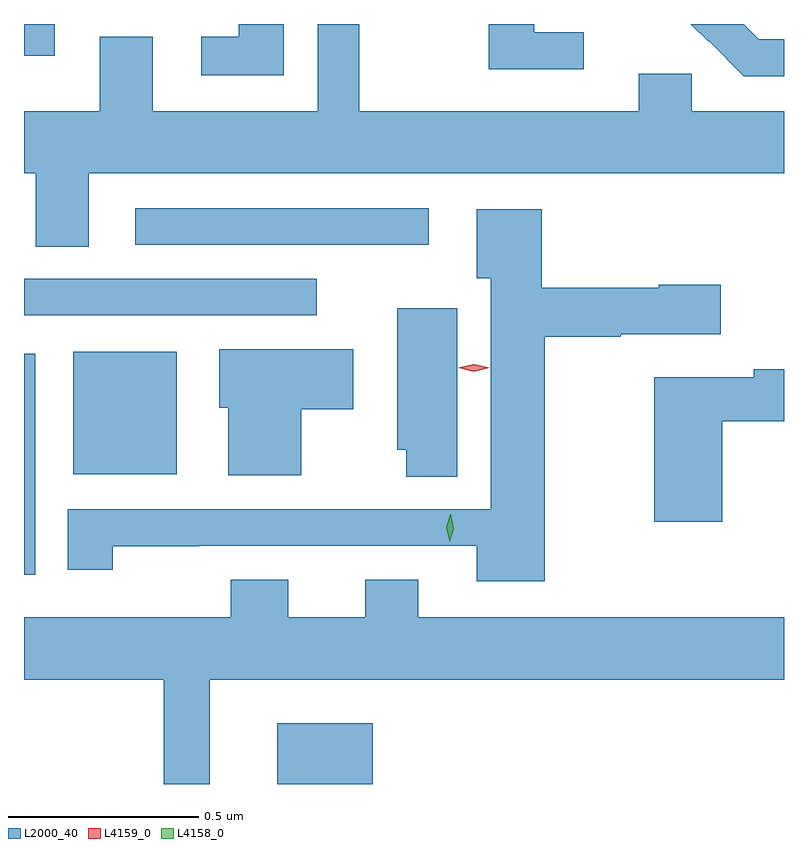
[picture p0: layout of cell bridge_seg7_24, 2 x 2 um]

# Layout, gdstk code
import gdstk
lib = gdstk.Library(unit=1e-6, precision=1e-09)
def R(c, l, rs):  # rectangles x0, y0, x1, y1
    for r in rs: c.add(gdstk.rectangle(r[:2], r[2:], *l))
def P(c, l, *ps):  # polygons
    for p in ps: c.add(gdstk.Polygon(p, *l))
L2000_40 = (2000, 40)
L4158_0 = (4158, 0)
L4159_0 = (4159, 0)

bridge_seg7_24 = lib.new_cell('bridge_seg7_24')
R(bridge_seg7_24, L2000_40, [(1046.129,1046.961,1046.38,1047.121), (1045.462,1047.512,1045.492,1048.093), (1045.592,1047.776,1045.864,1048.099), (1045.462,1048.194,1046.233,1048.29), (1045.755,1048.38,1046.527,1048.476), (1045.462,1048.878,1045.543,1048.961)])
P(bridge_seg7_24, L2000_40, [(1047.462,1048.921),(1047.396,1048.921),(1047.356,1048.961),(1047.217,1048.961),(1047.264,1048.914),(1047.265,1048.915),(1047.356,1048.824),(1047.462,1048.824)],
  [(1045.633,1048.568),(1047.462,1048.568),(1047.462,1048.732),(1047.219,1048.732),(1047.219,1048.83),(1047.08,1048.83),(1047.08,1048.732),(1046.344,1048.732),(1046.344,1048.961),(1046.235,1048.961),(1046.235,1048.732),(1045.801,1048.732),(1045.801,1048.927),(1045.661,1048.927),(1045.661,1048.732),(1045.462,1048.732),(1045.462,1048.568),(1045.493,1048.568),(1045.493,1048.375),(1045.633,1048.375)],
  [(1046.935,1048.939),(1046.805,1048.939),(1046.805,1048.961),(1046.685,1048.961),(1046.685,1048.842),(1046.935,1048.842)],
  [(1046.146,1048.961),(1046.027,1048.961),(1046.027,1048.927),(1045.929,1048.927),(1045.929,1048.826),(1046.146,1048.826)],
  [(1046.832,1048.138),(1047.032,1048.138),(1047.032,1048.145),(1047.295,1048.145),(1047.295,1048.275),(1047.132,1048.275),(1047.132,1048.267),(1046.824,1048.267),(1046.824,1048.474),(1046.654,1048.474),(1046.654,1048.292),(1046.69,1048.292),(1046.69,1047.684),(1045.577,1047.684),(1045.577,1047.525),(1045.695,1047.525),(1045.695,1047.587),(1045.922,1047.587),(1045.922,1047.588),(1046.654,1047.588),(1046.654,1047.494),(1046.832,1047.494)],
  [(1046.602,1048.213),(1046.444,1048.213),(1046.444,1047.84),(1046.468,1047.84),(1046.468,1047.769),(1046.602,1047.769)],
  [(1046.191,1047.947),(1046.329,1047.947),(1046.329,1048.105),(1045.976,1048.105),(1045.976,1047.951),(1046,1047.951),(1046,1047.773),(1046.191,1047.773)],
  [(1047.299,1047.916),(1047.462,1047.916),(1047.462,1048.052),(1047.382,1048.052),(1047.382,1048.032),(1047.121,1048.032),(1047.121,1047.651),(1047.299,1047.651)],
  [(1045.951,1047.236),(1047.462,1047.236),(1047.462,1047.4),(1046.5,1047.4),(1046.5,1047.499),(1046.36,1047.499),(1046.36,1047.4),(1046.158,1047.4),(1046.158,1047.499),(1046.006,1047.499),(1046.006,1047.4),(1045.462,1047.4),(1045.462,1047.236),(1045.83,1047.236),(1045.83,1046.961),(1045.951,1046.961)])
P(bridge_seg7_24, L4158_0, [(1046.582,1047.599),(1046.582,1047.599),(1046.573,1047.635),(1046.584,1047.671),(1046.585,1047.671),(1046.585,1047.671),(1046.593,1047.634),(1046.582,1047.599)])
P(bridge_seg7_24, L4159_0, [(1046.646,1048.046),(1046.605,1048.056),(1046.605,1048.056),(1046.605,1048.056),(1046.646,1048.066),(1046.687,1048.057),(1046.687,1048.057),(1046.687,1048.057)])

lib.write_gds('bridge_seg7_24.gds')
